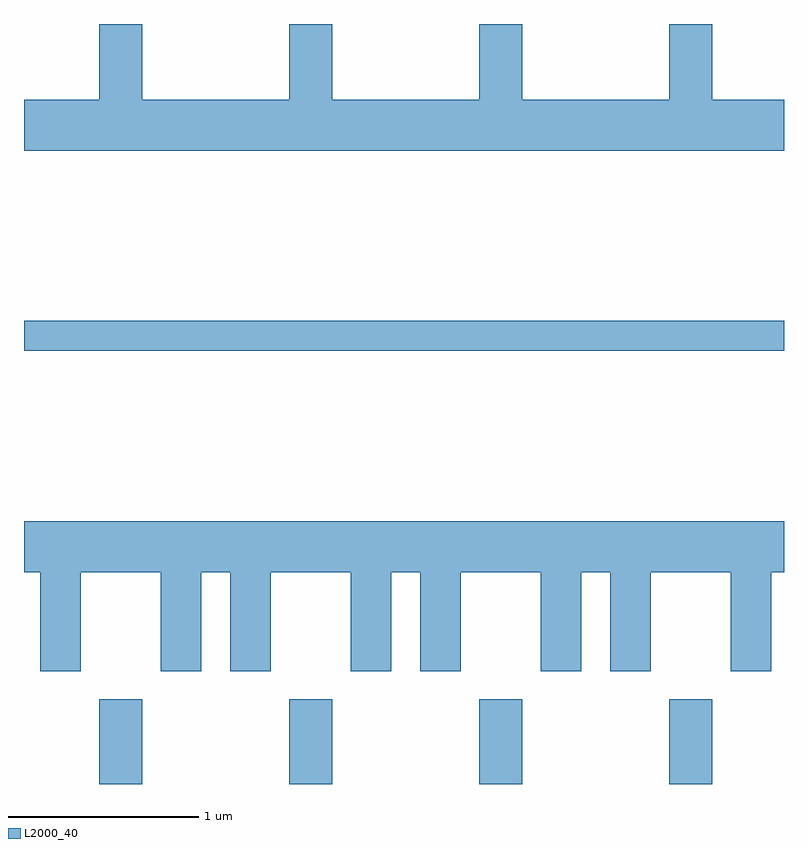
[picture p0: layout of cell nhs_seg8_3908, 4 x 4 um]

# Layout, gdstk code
import gdstk
lib = gdstk.Library(unit=1e-6, precision=1e-09)
def R(c, l, rs):  # rectangles x0, y0, x1, y1
    for r in rs: c.add(gdstk.rectangle(r[:2], r[2:], *l))
def A(c, l, x, y, w, h, nx, ny, dx, dy):  # array of equal rectangles
    R(c, l, [(x+i*dx, y+j*dy, x+i*dx+w, y+j*dy+h) for i in range(nx) for j in range(ny)])
def P(c, l, *ps):  # polygons
    for p in ps: c.add(gdstk.Polygon(p, *l))
L2000_40 = (2000, 40)

nhs_seg8_3908 = lib.new_cell('nhs_seg8_3908')
A(nhs_seg8_3908, L2000_40, 302.006, 1906.342, 0.228, 0.447, 4, 1, 1, 0)
R(nhs_seg8_3908, L2000_40, [(301.611,1908.621,305.611,1908.779)])
P(nhs_seg8_3908, L2000_40, [(305.611,1909.944),(305.234,1909.944),(305.234,1910.342),(305.006,1910.342),(305.006,1909.944),(304.234,1909.944),(304.234,1910.342),(304.006,1910.342),(304.006,1909.944),(303.234,1909.944),(303.234,1910.342),(303.006,1910.342),(303.006,1909.944),(302.234,1909.944),(302.234,1910.342),(302.006,1910.342),(302.006,1909.944),(301.611,1909.944),(301.611,1909.676),(305.611,1909.676)],
  [(301.611,1907.456),(301.696,1907.456),(301.696,1906.936),(301.909,1906.936),(301.909,1907.456),(302.331,1907.456),(302.331,1906.936),(302.544,1906.936),(302.544,1907.456),(302.696,1907.456),(302.696,1906.936),(302.909,1906.936),(302.909,1907.456),(303.331,1907.456),(303.331,1906.936),(303.544,1906.936),(303.544,1907.456),(303.696,1907.456),(303.696,1906.936),(303.909,1906.936),(303.909,1907.456),(304.331,1907.456),(304.331,1906.936),(304.544,1906.936),(304.544,1907.456),(304.696,1907.456),(304.696,1906.936),(304.909,1906.936),(304.909,1907.456),(305.331,1907.456),(305.331,1906.936),(305.544,1906.936),(305.544,1907.456),(305.611,1907.456),(305.611,1907.724),(301.611,1907.724)])

lib.write_gds('nhs_seg8_3908.gds')
